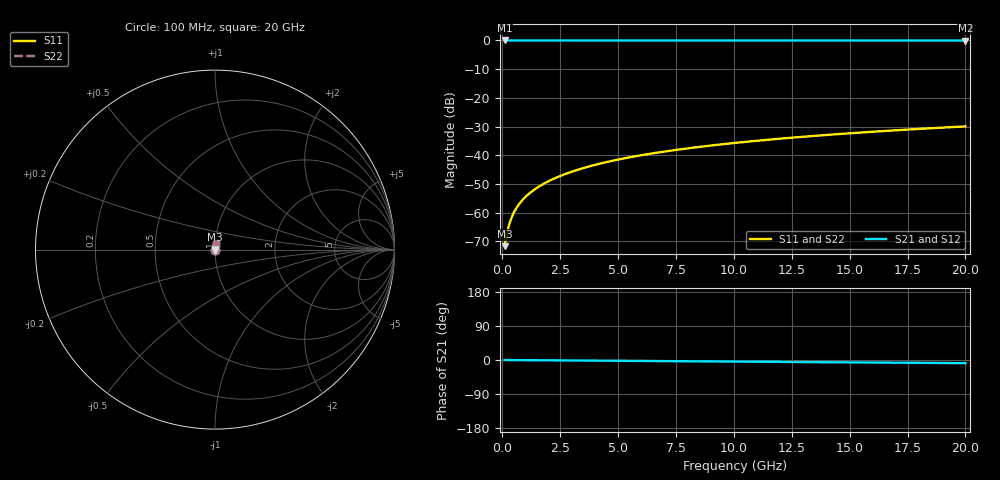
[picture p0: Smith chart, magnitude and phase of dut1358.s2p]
! Touchstone file exported from HFSS 2026.1.0
!  File:  C:/ffzhzh/LocalFiles/Ansys_Project_Files/temp_train_TSV_1358_1783195945_51560.aedt
!  Generated:  04:14:15 AM Jul  5, 2026
!  Design:  TSV
!  Project:  temp_train_TSV_1358_1783195945_51560
! Variables:
!  h_bsmrdl = 2um
!  h_ox = 20um
!  h_rdl = 5um
!  h_sub = 80.3um
!  h_tmrdl = 5um
!  h_tsv = 80.3um
!  h_via = 3um
!  l_bsmrdl = 300um
!  l_sub = 417.02um
!  l_tmrdl = 200um
!  m_sub = 200um
!  pitch = 45.09um
!  r_tsv = 8.51um
!  s_tmrdl = 10um
!  w_bsmrdl = 18um
!  w_sub = 500um
!  w_tmrdl = 12um
!  x_tsv_center1 = 206um
!  x_tsv_center2 = 524um
!  x_tsv_center3 = 736um
!  x_tsv_center4 = 1054um
!  x_tsv_center5 = 1266um
!  x_tsv_center6 = 1584um
# GHz S MA R 50.000000
! Terminal data exported
! Port[1] = TSV1_1_T1
! Port[2] = TSV1_1_T2
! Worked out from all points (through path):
!   200 points, 100 MHz to 20 GHz, reference 50 ohm
!   highest |S21| = 0.00 dB at 100 MHz (marker M1); lowest = 0.0 dB at 20 GHz (marker M2)
!   group delay of S21, straight-line fit = 1.16 ps
!   lowest |S11| = -71.7 dB at 100 MHz (marker M3), VSWR 1.00, Z = 50 + j0.0202 ohm
!   |S11| at or under -10 dB: start of sweep to end of sweep
!   |S22| runs from -71.7 to -30.0 dB; largest |S21 - S12| = 2.3e-15
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0.1  0.0002595 51.2  0.9998 -0.0  0.9998 -0.0  0.0002595 51.2
! Gamma 0 0 0 0
! Port Impedance 50 0 50 0
0.2  0.000438 66.6  0.9998 -0.1  0.9998 -0.1  0.000438 66.6
0.3  0.0006276 72.3  0.9998 -0.1  0.9998 -0.1  0.0006276 72.3
0.4  0.0008166 74.9  0.9998 -0.2  0.9998 -0.2  0.0008166 74.9
0.5  0.001002 76.4  0.9998 -0.2  0.9998 -0.2  0.001002 76.4
0.6  0.001184 77.3  0.9997 -0.3  0.9997 -0.3  0.001184 77.3
0.7  0.001361 77.9  0.9997 -0.3  0.9997 -0.3  0.001361 77.9
0.8  0.001535 78.4  0.9997 -0.3  0.9997 -0.3  0.001535 78.4
1  0.001875 79.2  0.9997 -0.4  0.9997 -0.4  0.001875 79.2
1.4  0.002539 80.4  0.9996 -0.6  0.9996 -0.6  0.002539 80.4
1.7  0.003031 81.0  0.9996 -0.7  0.9996 -0.7  0.003031 81.0
2  0.003522 81.6  0.9995 -0.9  0.9995 -0.9  0.003522 81.6
2.7  0.004665 82.4  0.9995 -1.1  0.9995 -1.1  0.004665 82.4
3.5  0.005965 82.8  0.9994 -1.5  0.9994 -1.5  0.005965 82.8
4.2  0.007097 83.0  0.9993 -1.8  0.9993 -1.8  0.007097 83.0
5  0.008383 83.0  0.9993 -2.1  0.9993 -2.1  0.008383 83.0
6.8  0.01125 82.9  0.9991 -2.9  0.9991 -2.9  0.01125 82.9
8.3  0.01362 82.6  0.999 -3.5  0.999 -3.5  0.01362 82.6
10.1  0.01645 82.2  0.9988 -4.2  0.9988 -4.2  0.01645 82.2
13.4  0.0216 81.3  0.9986 -5.6  0.9986 -5.6  0.0216 81.3
16.7  0.02671 80.2  0.9983 -7.0  0.9983 -7.0  0.02671 80.2
20  0.03178 79.1  0.9981 -8.3  0.9981 -8.3  0.03178 79.1
